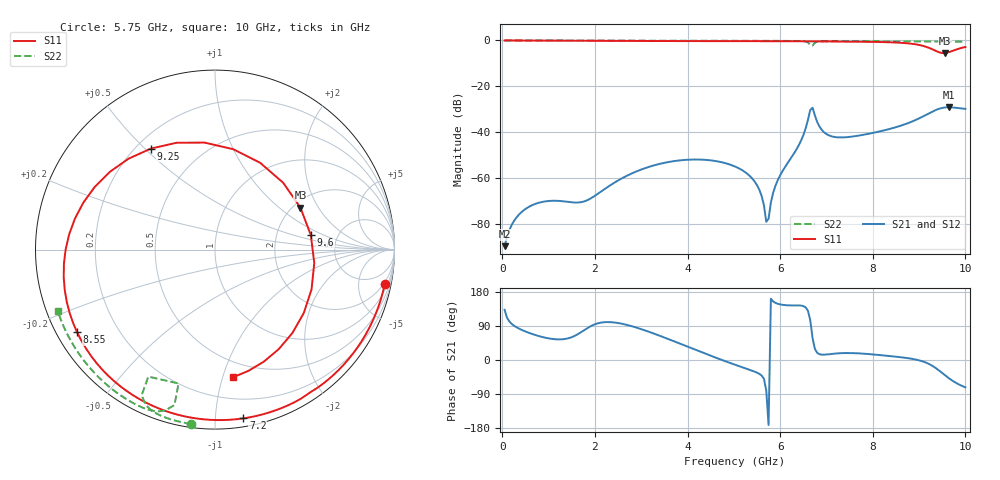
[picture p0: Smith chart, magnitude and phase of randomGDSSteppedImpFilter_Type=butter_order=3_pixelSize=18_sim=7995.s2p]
! freq	dB(S11)	phase(S11)	dB(S12)	phase(S12)
!  dB(S21)	phase(S21)	dB(S22)	phase(S22)
!S-par simulation data
#  GHz  S  DB  R 50
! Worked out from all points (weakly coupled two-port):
!   200 points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, 50 MHz to 10 GHz, reference 50 ohm
!   highest |S21| = -29.18 dB at 9.65 GHz (marker M1); lowest = -89.8 dB at 50 MHz (marker M2)
!   lowest |S11| = -5.5 dB at 9.55 GHz (marker M3), VSWR 3.26, Z = 109 + j71 ohm
!   |S11| at or under -10 dB: nowhere
!   |S22| runs from -2.2 to 0.0 dB; largest |S21 - S12| = 0
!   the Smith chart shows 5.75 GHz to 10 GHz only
!   S11 on the Smith chart (normalised r, x): 5.75 GHz: 1.70, -9.58; 7.2 GHz: 0.06, -1.18; 8.55 GHz: 0.06, -0.28; 9.25 GHz: 0.26, +0.52; 9.6 GHz: 3.17, +0.72; 10 GHz: 0.37, -1.08
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0.05  -0.00 -3.1  -89.81 132.4  -89.81 132.4  -0.00 -0.9
1  -0.08 -61.9  -70.08 57.1  -70.08 57.1  -0.02 -18.3
1.75  -0.14 -108.5  -70.37 77.2  -70.37 77.2  -0.04 -31.7
2.65  -0.20 -166.7  -59.48 93.9  -59.48 93.9  -0.06 -47.4
3.4  -0.25 141.7  -53.88 64.0  -53.88 64.0  -0.08 -60.1
4.2  -0.29 85.2  -51.97 25.5  -51.97 25.5  -0.10 -73.2
5.05  -0.30 28.9  -55.25 -13.5  -55.25 -13.5  -0.13 -86.8
5.5  -0.30 2.2  -63.19 -33.4  -63.19 -33.4  -0.15 -93.9
5.7  -0.31 -8.9  -79.17 -80.2  -79.17 -80.2  -0.17 -97.0
5.75  -0.31 -11.6  -77.82 -171.4  -77.82 -171.4  -0.17 -97.8
5.9  -0.31 -19.5  -63.33 150.6  -63.33 150.6  -0.18 -100.2
6.7  -0.38 -58.0  -29.38 57.7  -29.38 57.7  -2.23 -105.2
6.9  -0.38 -67.1  -39.08 14.1  -39.08 14.1  -0.34 -110.8
7.2  -0.41 -80.4  -42.22 17.0  -42.22 17.0  -0.27 -117.0
8.35  -0.78 -136.1  -38.71 10.7  -38.71 10.7  -0.35 -134.5
8.55  -0.96 -149.1  -37.57 8.1  -37.57 8.1  -0.37 -137.4
8.95  -1.76 174.0  -34.49 0.6  -34.49 0.6  -0.41 -143.2
9.25  -3.52 122.4  -31.42 -12.8  -31.42 -12.8  -0.44 -147.6
9.55  -5.51 26.2  -29.29 -39.3  -29.29 -39.3  -0.48 -152.0
9.6  -5.35 8.6  -29.20 -44.1  -29.20 -44.1  -0.48 -152.7
9.65  -5.06 -7.7  -29.18 -48.7  -29.18 -48.7  -0.49 -153.4
10  -2.87 -81.9  -29.86 -72.2  -29.86 -72.2  -0.53 -158.7
